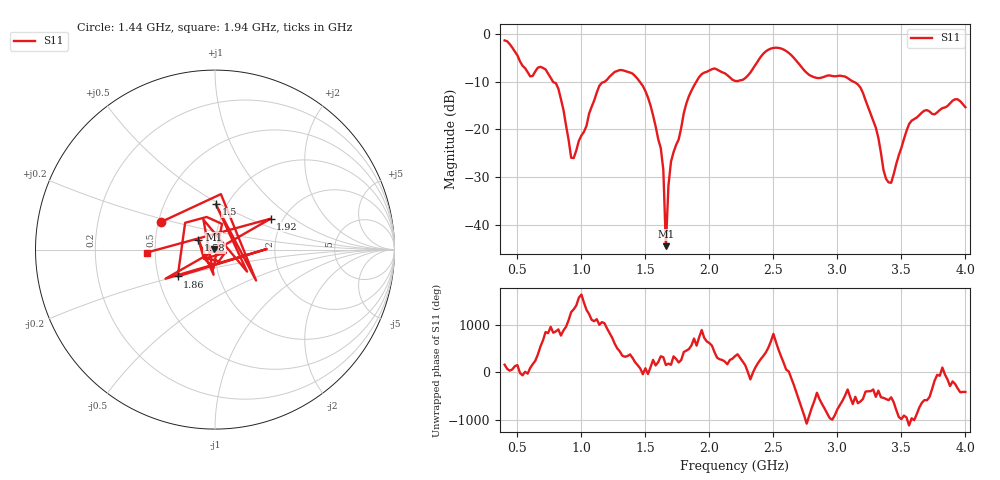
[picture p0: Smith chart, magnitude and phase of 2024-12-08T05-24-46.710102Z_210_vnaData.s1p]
!Created with skrf (http://scikit-rf.org).
# Hz S RI R 50.0
!freq ReS11 ImS11
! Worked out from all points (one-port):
!   181 points, 400 MHz to 4 GHz, reference 50 ohm
!   lowest |S11| = -44.5 dB at 1.66 GHz (marker M1), VSWR 1.01, Z = 49.5 + j0.227 ohm
!   |S11| at or under -10 dB: 778.5 MHz to 1.18 GHz (402 MHz wide, 41 % of centre); 1.456 GHz to 1.898 GHz (441.9 MHz wide, 26.4 % of centre); 3.127 GHz to end of sweep
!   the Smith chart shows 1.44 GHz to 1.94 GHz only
!   S11 on the Smith chart (normalised r, x): 1.44 GHz: 0.52, +0.18; 1.5 GHz: 0.89, +0.48; 1.58 GHz: 0.83, +0.09; 1.86 GHz: 0.63, -0.20; 1.92 GHz: 1.73, +0.68; 1.94 GHz: 0.45, -0.02
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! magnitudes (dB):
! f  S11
! 400 MHz  -1.3
! 600 MHz  -8.9
! 720 MHz  -7.4
! 860 MHz  -15.9
! 920 MHz  -25.9
! 940 MHz  -26.0
! 1.14 GHz  -10.9
! 1.3 GHz  -7.5
! 1.44 GHz  -9.4
! 1.5 GHz  -11.9
! 1.58 GHz  -19.3
! 1.64 GHz  -28.4
! 1.66 GHz  -44.5
! 1.68 GHz  -31.8
! 1.7 GHz  -26.7
! 1.76 GHz  -22.1
! 1.86 GHz  -11.8
! 1.92 GHz  -9.0
! 1.94 GHz  -8.4
! 2.2 GHz  -9.8
! 2.48 GHz  -3.0
! 2.66 GHz  -5.0
! 2.82 GHz  -9.1
! 3.1 GHz  -9.6
! 3.2 GHz  -12.3
! 3.4 GHz  -31.1
! 3.56 GHz  -18.9
! 4 GHz  -15.3
